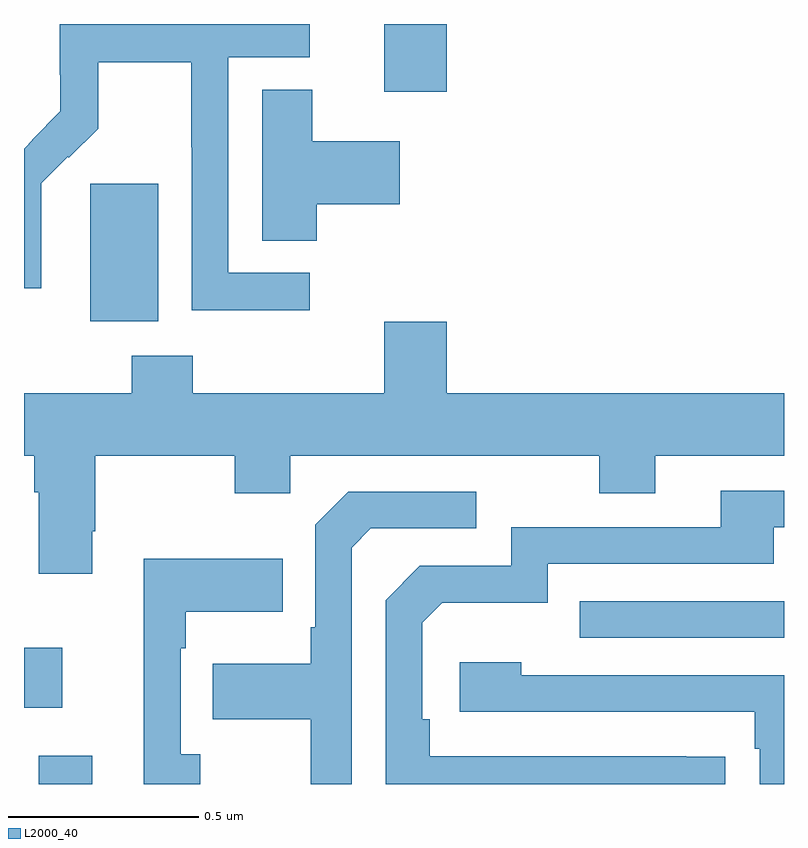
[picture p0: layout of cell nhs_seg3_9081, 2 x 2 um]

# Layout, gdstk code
import gdstk
lib = gdstk.Library(unit=1e-6, precision=1e-09)
def R(c, l, rs):  # rectangles x0, y0, x1, y1
    for r in rs: c.add(gdstk.rectangle(r[:2], r[2:], *l))
def P(c, l, *ps):  # polygons
    for p in ps: c.add(gdstk.Polygon(p, *l))
L2000_40 = (2000, 40)

nhs_seg3_9081 = lib.new_cell('nhs_seg3_9081')
R(nhs_seg3_9081, L2000_40, [(224.039,685.4,224.179,685.474), (224,685.601,224.101,685.759), (225.463,685.785,226,685.881), (224.174,686.618,224.353,686.979), (224.948,687.222,225.112,687.4)])
P(nhs_seg3_9081, L2000_40, [(224.752,686.745),(224.538,686.745),(224.538,687.312),(224.752,687.312),(224.752,687.4),(224.094,687.4),(224.094,687.267),(224.096,687.267),(224.096,687.17),(224.022,687.096),(224.023,687.095),(224,687.072),(224,686.704),(224.046,686.704),(224.046,686.858),(224.045,686.858),(224.045,686.981),(224.115,687.051),(224.118,687.048),(224.195,687.125),(224.195,687.3),(224.44,687.3),(224.44,687.076),(224.442,687.076),(224.442,686.647),(224.752,686.647)],
  [(224.771,686.926),(224.989,686.926),(224.989,687.091),(224.758,687.091),(224.758,687.227),(224.627,687.227),(224.627,686.83),(224.771,686.83)],
  [(224.179,686.065),(224.187,686.065),(224.187,686.264),(224.554,686.264),(224.554,686.165),(224.7,686.165),(224.7,686.264),(225.514,686.264),(225.514,686.165),(225.661,686.165),(225.661,686.264),(226,686.264),(226,686.428),(225.112,686.428),(225.112,686.617),(224.948,686.617),(224.948,686.428),(224.444,686.428),(224.444,686.527),(224.284,686.527),(224.284,686.428),(224,686.428),(224,686.264),(224.027,686.264),(224.027,686.168),(224.039,686.168),(224.039,685.953),(224.179,685.953)],
  [(225.845,685.472),(225.743,685.472),(225.743,685.473),(225.068,685.473),(225.068,685.57),(225.048,685.57),(225.048,685.824),(225.101,685.877),(225.378,685.877),(225.378,685.98),(225.973,685.98),(225.973,686.076),(226,686.076),(226,686.172),(225.833,686.172),(225.833,686.076),(225.282,686.076),(225.282,685.974),(225.042,685.974),(224.952,685.884),(224.952,685.4),(225.845,685.4)],
  [(224.862,686.022),(224.913,686.073),(225.19,686.073),(225.19,686.169),(224.853,686.169),(224.766,686.082),(224.766,685.813),(224.754,685.813),(224.754,685.717),(224.497,685.717),(224.497,685.57),(224.754,685.57),(224.754,685.4),(224.862,685.4)],
  [(224.464,685.478),(224.412,685.478),(224.412,685.757),(224.425,685.757),(224.425,685.853),(224.681,685.853),(224.681,685.993),(224.315,685.993),(224.315,685.4),(224.464,685.4)],
  [(226,685.686),(225.308,685.686),(225.308,685.72),(225.147,685.72),(225.147,685.59),(225.923,685.59),(225.923,685.493),(225.936,685.493),(225.936,685.4),(226,685.4)])

lib.write_gds('nhs_seg3_9081.gds')
